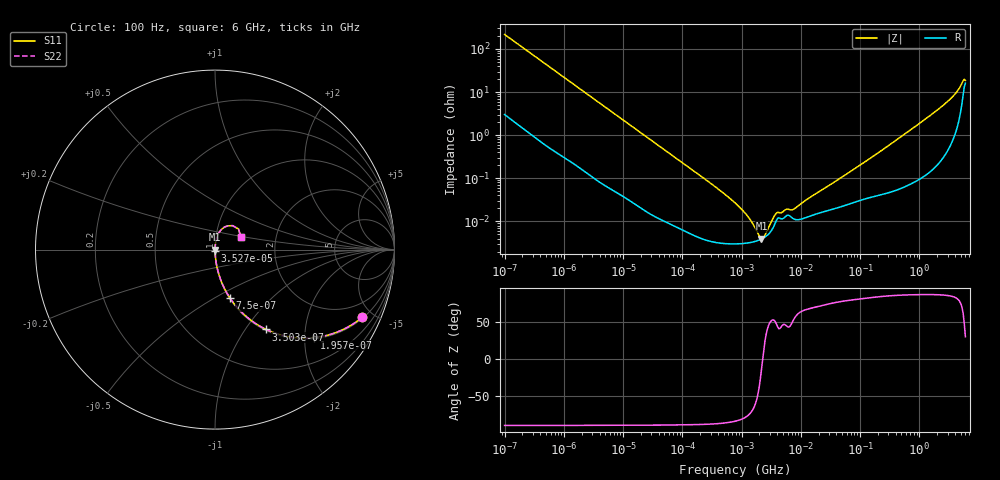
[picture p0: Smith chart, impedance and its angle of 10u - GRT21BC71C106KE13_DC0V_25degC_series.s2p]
!Murata Part Number: GRT21BC71C106KE13
!These Parameters are Measured in Series Mode Connection
!  o--ll--o
!Port1  Port2
!  o------o
!Operation Temp=25[degC], DC Bias Voltage=0[V]
!Freq. Start=100[Hz] Stop=6[GHz], 401[Steps]
!Data Generated on Dec 2, 2019
# Hz S RI R 50
!Freq.(Hz) S11(Real) S11(Imag) S21(Real) S21(Imag) S12(Real) S12(Imag) S22(Real) S22(Imag)
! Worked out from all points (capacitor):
!   401 points, 100 Hz to 6 GHz, reference 50 ohm
!   read as one part in series: C = 7.31 uF near 109.4 Hz
!   lowest |Z| = 4.02 mohm at 2.169 MHz (marker M1)
!   series resonance near 2.266 MHz, so ESL is about 680 pH
!   S11 on the Smith chart (normalised r, x): 100 Hz: 1.06, -4.34; 195.7 Hz: 1.03, -2.23; 350.3 Hz: 1.02, -1.25; 750 Hz: 1.01, -0.59; 35.27 kHz: 1.00, -0.01; 6 GHz: 1.32, +0.19
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100  0.8217 -0.3759  0.1783 0.3759  0.1783 0.3759  0.8217 -0.3759
195.7405  0.554 -0.4904  0.446 0.4904  0.446 0.4904  0.554 -0.4904
350.3246  0.2845 -0.4447  0.7155 0.4447  0.7155 0.4447  0.2845 -0.4447
749.9668  0.0828 -0.269  0.9172 0.269  0.9172 0.269  0.0828 -0.269
2008.354  0.0137 -0.1092  0.9863 0.1092  0.9863 0.1092  0.0137 -0.1092
6151.412  0.0019 -0.0365  0.9981 0.0365  0.9981 0.0365  0.0019 -0.0365
35265.05  0.000169 -0.00649  0.9998 0.00649  0.9998 0.00649  0.000169 -0.00649
40334.87  0.000148 -0.00568  0.9999 0.00568  0.9999 0.00568  0.000148 -0.00568
302498.1  3.48e-05 -0.00076  1 0.00076  1 0.00076  3.48e-05 -0.00076
774596.7  3.02e-05 -0.000268  1 0.000268  1 0.000268  3.02e-05 -0.000268
1449809  3.27e-05 -9.68e-05  1 9.68e-05  1 9.68e-05  3.27e-05 -9.68e-05
2169299  3.91e-05 -9.32e-06  1 9.32e-06  1 9.32e-06  3.91e-05 -9.32e-06
2967816  5.38e-05 6.1e-05  0.9999 -6.1e-05  0.9999 -6.1e-05  5.38e-05 6.1e-05
3882480  0.000106 0.000115  0.9999 -0.000115  0.9999 -0.000115  0.000106 0.000115
5809218  0.000138 0.000135  0.9999 -0.000135  0.9999 -0.000135  0.000138 0.000135
7599586  0.000114 0.000155  0.9999 -0.000155  0.9999 -0.000155  0.000114 0.000155
1.555665e7  0.000139 0.000364  0.9999 -0.000364  0.9999 -0.000364  0.000139 0.000364
3.124326e8  0.000503 0.00591  0.9995 -0.00591  0.9995 -0.00591  0.000503 0.00591
2.450438e9  0.00506 0.0472  0.9949 -0.0472  0.9949 -0.0472  0.00506 0.0472
4.385646e9  0.0256 0.0999  0.9744 -0.0999  0.9744 -0.0999  0.0256 0.0999
5.245841e9  0.0699 0.1324  0.9301 -0.1324  0.9301 -0.1324  0.0699 0.1324
6e9  0.1445 0.0697  0.8555 -0.0697  0.8555 -0.0697  0.1445 0.0697
